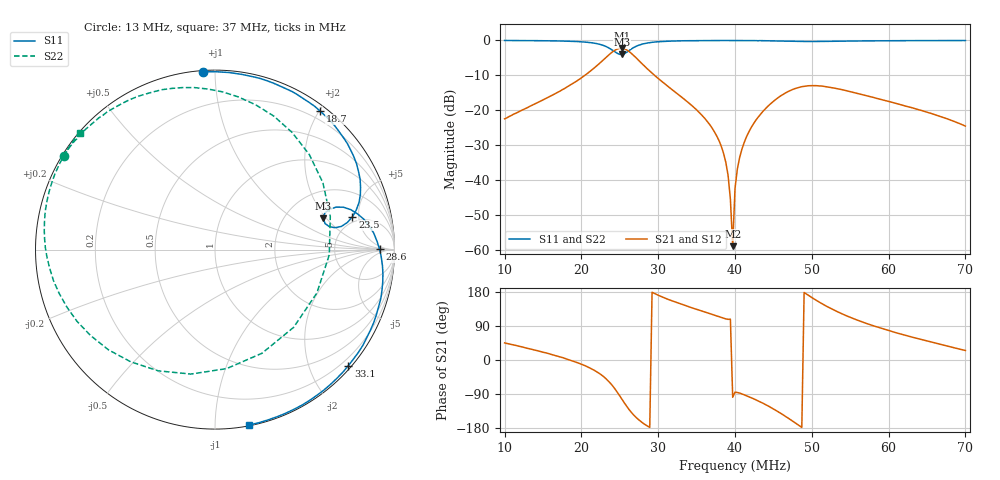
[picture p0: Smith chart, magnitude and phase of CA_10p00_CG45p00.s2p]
#  HZ  S  RI  R  50.00
! Rohde & Schwarz ZVT8 8Ports - Version 4.11 - 1300.0000k08 SN: 100242
! Date: 2026-07-31 14:13:23
! Measurements: S11 S21 S12 S22
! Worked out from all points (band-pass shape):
!   201 points, 10 MHz to 70 MHz, reference 50 ohm
!   highest |S21| = -2.23 dB at 25.3 MHz (marker M1); lowest = -58.8 dB at 39.7 MHz (marker M2)
!   |S21| within 3 dB of the highest: 23.03 MHz to 27.23 MHz (4.205 MHz wide, 16.7 % of centre)
!   lowest |S11| = -4.0 dB at 25.3 MHz (marker M3), VSWR 4.39, Z = 161 + j93.3 ohm
!   |S11| at or under -10 dB: nowhere
!   |S22| runs from -4.2 to 0.0 dB; largest |S21 - S12| = 0.0027
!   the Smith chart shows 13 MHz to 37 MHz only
!   S11 on the Smith chart (normalised r, x): 13 MHz: 0.01, +0.94; 18.7 MHz: 0.08, +2.01; 23.5 MHz: 4.31, +4.14; 28.6 MHz: 23, +0; 33.1 MHz: 0.06, -2.67; 37 MHz: 0.01, -1.21
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1e7  -0.4076 0.9096  0.0533 0.0536  0.0532 0.0537  -0.9155 0.394
1.3e7  -0.0652 0.9891  0.0943 0.0564  0.0943 0.0564  -0.8437 0.5222
1.87e7  0.5838 0.7734  0.2354 -0.00532  0.2348 -0.00593  -0.5526 0.7947
2.02e7  0.7148 0.6248  0.2947 -0.0665  0.2944 -0.0664  -0.3862 0.8668
2.35e7  0.7657 0.1825  0.3463 -0.5027  0.347 -0.502  0.43 0.6523
2.53e7  0.6038 0.1751  -0.1916 -0.7492  -0.1892 -0.7486  0.4381 -0.4331
2.65e7  0.7147 0.2364  -0.4853 -0.4356  -0.4869 -0.436  -0.316 -0.6755
2.86e7  0.9172 0.00163  -0.3882 -0.0385  -0.3893 -0.0386  -0.8997 -0.1735
3.01e7  0.93 -0.2285  -0.2753 0.0487  -0.2753 0.048  -0.9512 0.1071
3.31e7  0.7422 -0.6475  -0.1276 0.084  -0.1279 0.0841  -0.8889 0.4293
3.7e7  0.1907 -0.9769  -0.0286 0.0485  -0.0285 0.0485  -0.7545 0.6522
3.88e7  -0.1508 -0.9837  -0.00578 0.0173  -0.0058 0.0172  -0.6904 0.7218
3.94e7  -0.2715 -0.9571  -0.00165 0.00513  -0.00162 0.00517  -0.6681 0.7421
3.97e7  -0.3338 -0.9393  -0.000168 -0.00113  -0.000136 -0.00117  -0.6563 0.7512
4e7  -0.3942 -0.9134  0.000689 -0.0076  0.000787 -0.0077  -0.6464 0.7615
4.15e7  -0.6865 -0.7189  -0.00327 -0.0419  -0.00322 -0.0419  -0.5897 0.8033
4.51e7  -0.9368 0.2928  -0.0886 -0.1049  -0.0889 -0.1048  -0.4544 0.8785
4.78e7  -0.1372 0.9592  -0.1979 -0.051  -0.1974 -0.0515  -0.3562 0.9081
5.02e7  0.7621 0.5894  -0.2148 0.0687  -0.2148 0.0685  -0.2815 0.9302
5.5e7  0.596 -0.7739  -0.0712 0.1712  -0.071 0.1713  -0.1242 0.9724
6.01e7  -0.3731 -0.913  0.0294 0.13  0.0293 0.1297  0.0606 0.9865
7e7  -0.9628 0.2506  0.0539 0.0253  0.054 0.0251  0.4314 0.8978
